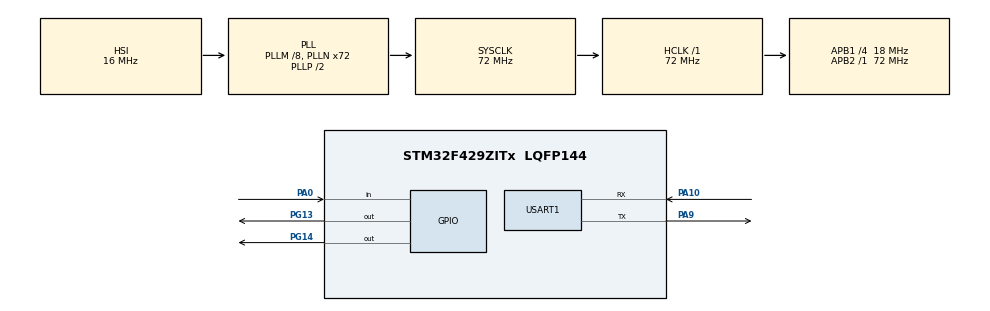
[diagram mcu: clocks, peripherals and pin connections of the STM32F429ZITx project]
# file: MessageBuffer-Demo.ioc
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FREERTOS.Tasks01=defaultTask,24,128,StartDefaultTask,Default,NULL,Dynamic,NULL,NULL
Mcu.Family=STM32F4
Mcu.Name=STM32F429ZITx
Mcu.Package=LQFP144
NVIC.PriorityGroup=NVIC_PRIORITYGROUP_4
PA0/WKUP.GPIO_PuPd=GPIO_PULLDOWN
PA0/WKUP.Signal=GPIO_Input
PA10.Mode=Asynchronous
PA10.Signal=USART1_RX
PA9.Mode=Asynchronous
PA9.Signal=USART1_TX
PG13.Signal=GPIO_Output
PG14.Signal=GPIO_Output
ProjectManager.HeapSize=0x200
ProjectManager.StackSize=0x400
ProjectManager.TargetToolchain=STM32CubeIDE
RCC.48MHZClocksFreq_Value=48000000
RCC.AHBFreq_Value=72000000
RCC.APB1CLKDivider=RCC_HCLK_DIV4
RCC.APB1Freq_Value=18000000
RCC.APB1TimFreq_Value=36000000
RCC.APB2Freq_Value=72000000
RCC.APB2TimFreq_Value=72000000
RCC.CortexFreq_Value=72000000
RCC.HCLKFreq_Value=72000000
RCC.HSE_VALUE=8000000
RCC.HSI_VALUE=16000000
RCC.LSE_VALUE=32768
RCC.PLLM=8
RCC.PLLN=72
RCC.PLLQ=3
RCC.PLLSAIN=50
RCC.SYSCLKFreq_VALUE=72000000
RCC.SYSCLKSource=RCC_SYSCLKSOURCE_PLLCLK
RCC.VCOOutputFreq_Value=144000000
USART1.VirtualMode=VM_ASYNC
VP_FREERTOS_VS_CMSIS_V2.Mode=CMSIS_V2
board=STM32F429I-DISC1

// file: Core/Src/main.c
/* USER CODE BEGIN Header */
/**
  ******************************************************************************
  * @file           : main.c
  * @brief          : Main program body
  ******************************************************************************
  * @attention
  *
  * Copyright (c) 2025 STMicroelectronics.
  * All rights reserved.
  *
  * This software is licensed under terms that can be found in the LICENSE file
  * in the root directory of this software component.
  * If no LICENSE file comes with this software, it is provided AS-IS.
  *
  ******************************************************************************
  */
/* USER CODE END Header */
#include "main.h"
#include "cmsis_os.h"

/* USER CODE BEGIN PM */
/* Buffer size */
#define MESSAGE_BUFFER_SIZE     256
/* USER CODE END PM */

UART_HandleTypeDef huart1;

/* Definitions for defaultTask */

/* USER CODE BEGIN PV */
/* Message Buffer handle */
MessageBufferHandle_t xMessageBuffer;

/* Counters */
static volatile uint32_t ulMessagesSent = 0;
static volatile uint32_t ulMessagesReceived = 0;

/* USER CODE END PV */

void SystemClock_Config(void);
static void MX_GPIO_Init(void);
static void MX_USART1_UART_Init(void);
void StartDefaultTask(void *argument);

/* USER CODE BEGIN PFP */
/* Function prototypes */
static void MessageSenderTask(void *pvParameters);
static void MessageReceiverTask(void *pvParameters);
/* USER CODE END PFP */

/* USER CODE BEGIN 0 */
int _write(int file, char *data, int len)
{
    HAL_UART_Transmit(&huart1, (uint8_t*)data, len, HAL_MAX_DELAY);
    return len;
}
/* USER CODE END 0 */

int main(void)
{

  /* MCU Configuration--------------------------------------------------------*/

  /* Reset of all peripherals, Initializes the Flash interface and the Systick. */
  HAL_Init();

  /* Configure the system clock */
  SystemClock_Config();

  /* Initialize all configured peripherals */
  MX_GPIO_Init();
  MX_USART1_UART_Init();
  /* USER CODE BEGIN 2 */
  /* Create message buffer */
  xMessageBuffer = xMessageBufferCreate(MESSAGE_BUFFER_SIZE);
  /* USER CODE END 2 */

  /* Init scheduler */

  /* Create the thread(s) */
  /* creation of defaultTask */

  /* USER CODE BEGIN RTOS_THREADS */
  /* add threads, ... */
  printf("=== FreeRTOS Message Buffer Demonstration ===\r\n");
      printf("STM32F429I Discovery Board\r\n");

      if (xMessageBuffer != NULL) {
          printf("Message Buffer created successfully: %u bytes\r\n", (unsigned int)MESSAGE_BUFFER_SIZE);

          /* Create tasks */
          xTaskCreate(
              MessageSenderTask,      /* Task function */
              "MsgSender",            /* Task name */
              configMINIMAL_STACK_SIZE, /* Stack size */
              NULL,                   /* Parameters to pass to the task */
              tskIDLE_PRIORITY + 1,   /* Task priority */
              NULL                    /* Task handle */
          );

          xTaskCreate(
              MessageReceiverTask,    /* Task function */
              "MsgReceiver",          /* Task name */
              configMINIMAL_STACK_SIZE, /* Stack size */
              NULL,                   /* Parameters to pass to the task */
              tskIDLE_PRIORITY + 1,   /* Task priority */
              NULL                    /* Task handle */
          );

          printf("All tasks created. Starting scheduler...\r\n");

          /* Start the scheduler */
          vTaskStartScheduler();
      } else {
          printf("Failed to create message buffer. Out of memory?\r\n");
      }
  /* USER CODE END RTOS_THREADS */

  /* Start scheduler */
  osKernelStart();

  /* We should never get here as control is now taken by the scheduler */

  /* Infinite loop */
  while (1)
  {

  }
}

void SystemClock_Config(void)
{
  RCC_OscInitTypeDef RCC_OscInitStruct = {0};
  RCC_ClkInitTypeDef RCC_ClkInitStruct = {0};

  /** Configure the main internal regulator output voltage
  */
  __HAL_RCC_PWR_CLK_ENABLE();
  __HAL_PWR_VOLTAGESCALING_CONFIG(PWR_REGULATOR_VOLTAGE_SCALE3);

  /** Initializes the RCC Oscillators according to the specified parameters
  * in the RCC_OscInitTypeDef structure.
  */
  RCC_OscInitStruct.OscillatorType = RCC_OSCILLATORTYPE_HSI;
  RCC_OscInitStruct.HSIState = RCC_HSI_ON;
  RCC_OscInitStruct.HSICalibrationValue = RCC_HSICALIBRATION_DEFAULT;
  RCC_OscInitStruct.PLL.PLLState = RCC_PLL_ON;
  RCC_OscInitStruct.PLL.PLLSource = RCC_PLLSOURCE_HSI;
  RCC_OscInitStruct.PLL.PLLM = 8;
  RCC_OscInitStruct.PLL.PLLN = 72;
  RCC_OscInitStruct.PLL.PLLP = RCC_PLLP_DIV2;
  RCC_OscInitStruct.PLL.PLLQ = 3;
  if (HAL_RCC_OscConfig(&RCC_OscInitStruct) != HAL_OK)
  {
    Error_Handler();
  }

  /** Initializes the CPU, AHB and APB buses clocks
  */
  RCC_ClkInitStruct.ClockType = RCC_CLOCKTYPE_HCLK|RCC_CLOCKTYPE_SYSCLK
                              |RCC_CLOCKTYPE_PCLK1|RCC_CLOCKTYPE_PCLK2;
  RCC_ClkInitStruct.SYSCLKSource = RCC_SYSCLKSOURCE_PLLCLK;
  RCC_ClkInitStruct.AHBCLKDivider = RCC_SYSCLK_DIV1;
  RCC_ClkInitStruct.APB1CLKDivider = RCC_HCLK_DIV4;
  RCC_ClkInitStruct.APB2CLKDivider = RCC_HCLK_DIV1;

  if (HAL_RCC_ClockConfig(&RCC_ClkInitStruct, FLASH_LATENCY_2) != HAL_OK)
  {
    Error_Handler();
  }
}

static void MX_USART1_UART_Init(void)
{

  huart1.Instance = USART1;
  huart1.Init.BaudRate = 115200;
  huart1.Init.WordLength = UART_WORDLENGTH_8B;
  huart1.Init.StopBits = UART_STOPBITS_1;
  huart1.Init.Parity = UART_PARITY_NONE;
  huart1.Init.Mode = UART_MODE_TX_RX;
  huart1.Init.HwFlowCtl = UART_HWCONTROL_NONE;
  huart1.Init.OverSampling = UART_OVERSAMPLING_16;
  if (HAL_UART_Init(&huart1) != HAL_OK)
  {
    Error_Handler();
  }

}

static void MX_GPIO_Init(void)
{
  GPIO_InitTypeDef GPIO_InitStruct = {0};

  /* GPIO Ports Clock Enable */
  __HAL_RCC_GPIOA_CLK_ENABLE();
  __HAL_RCC_GPIOG_CLK_ENABLE();

  /*Configure GPIO pin Output Level */
  HAL_GPIO_WritePin(GPIOG, GPIO_PIN_13|GPIO_PIN_14, GPIO_PIN_RESET);

  /*Configure GPIO pin : PA0 */
  GPIO_InitStruct.Pin = GPIO_PIN_0;
  GPIO_InitStruct.Mode = GPIO_MODE_INPUT;
  GPIO_InitStruct.Pull = GPIO_PULLDOWN;
  HAL_GPIO_Init(GPIOA, &GPIO_InitStruct);

  /*Configure GPIO pins : PG13 PG14 */
  GPIO_InitStruct.Pin = GPIO_PIN_13|GPIO_PIN_14;
  GPIO_InitStruct.Mode = GPIO_MODE_OUTPUT_PP;
  GPIO_InitStruct.Pull = GPIO_NOPULL;
  GPIO_InitStruct.Speed = GPIO_SPEED_FREQ_LOW;
  HAL_GPIO_Init(GPIOG, &GPIO_InitStruct);

}

/* USER CODE BEGIN 4 */
/**
 * @brief Message Sender Task - Sends discrete messages to message buffer
 * @param pvParameters: Task parameters (unused)
 */
static void MessageSenderTask(void *pvParameters)
{
    (void)pvParameters; /* Suppress unused parameter warning */
    char pcMessage[50];
    uint32_t ulMessageNumber = 0;
    size_t xMessageLength;

    printf("Message Sender Task: Started\r\n");

    for (;;) {
        /* Create a message */
        ulMessageNumber++;
        sprintf(pcMessage, "Message #%lu from sender task", ulMessageNumber);
        xMessageLength = strlen(pcMessage);

        /* Send message to message buffer */
        if (xMessageBufferSend(xMessageBuffer,
                              (void*)pcMessage,
                              xMessageLength,
                              pdMS_TO_TICKS(100)) == xMessageLength) {
            ulMessagesSent++;
            printf("Message Sender: Sent message #%lu (Total: %lu)\r\n",
                   ulMessageNumber, ulMessagesSent);

            /* Toggle green LED to show activity */
            HAL_GPIO_TogglePin(GPIOG, GPIO_PIN_13);
        } else {
            printf("Message Sender: Failed to send message #%lu (buffer full?)\r\n", ulMessageNumber);
        }

        vTaskDelay(pdMS_TO_TICKS(1500));
    }
}

/**
 * @brief Message Receiver Task - Receives discrete messages from message buffer
 * @param pvParameters: Task parameters (unused)
 */
static void MessageReceiverTask(void *pvParameters)
{
    (void)pvParameters; /* Suppress unused parameter warning */
    char pcReceivedMessage[100];
    size_t xMessageLength;

    printf("Message Receiver Task: Started - waiting for messages...\r\n");

    for (;;) {
        /* Receive message from message buffer */
        xMessageLength = xMessageBufferReceive(xMessageBuffer,
                                              (void*)pcReceivedMessage,
                                              sizeof(pcReceivedMessage) - 1,
                                              portMAX_DELAY);

        if (xMessageLength > 0) {
            ulMessagesReceived++;

            /* Null terminate for printing */
            pcReceivedMessage[xMessageLength] = '\0';

            printf("Message Receiver: Received message (Length: %u, Total: %lu): %s\r\n",
                   (unsigned int)xMessageLength, ulMessagesReceived, pcReceivedMessage);

            /* Toggle red LED to show activity */
            HAL_GPIO_TogglePin(GPIOG, GPIO_PIN_14);
        }
    }
}

/* USER CODE END 4 */

void StartDefaultTask(void *argument)
{
  for(;;)
  {
  }
}

void Error_Handler(void)
{
  __disable_irq();
  while (1)
  {
  }
}
